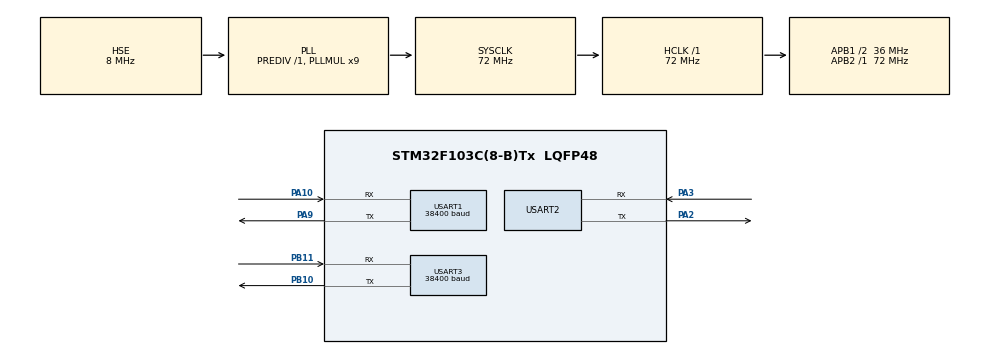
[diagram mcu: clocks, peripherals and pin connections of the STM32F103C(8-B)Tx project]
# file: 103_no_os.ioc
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Dma.Request0=USART2_RX
Dma.USART2_RX.0.Direction=DMA_PERIPH_TO_MEMORY
Dma.USART2_RX.0.Instance=DMA1_Channel6
Dma.USART2_RX.0.MemDataAlignment=DMA_MDATAALIGN_BYTE
Dma.USART2_RX.0.MemInc=DMA_MINC_ENABLE
Dma.USART2_RX.0.Mode=DMA_NORMAL
Dma.USART2_RX.0.PeriphDataAlignment=DMA_PDATAALIGN_BYTE
Dma.USART2_RX.0.PeriphInc=DMA_PINC_DISABLE
Dma.USART2_RX.0.Priority=DMA_PRIORITY_LOW
Mcu.Family=STM32F1
Mcu.Name=STM32F103C(8-B)Tx
Mcu.Package=LQFP48
NVIC.DMA1_Channel6_IRQn=true\:0\:0\:false\:false\:true\:false\:true\:true
NVIC.PriorityGroup=NVIC_PRIORITYGROUP_4
NVIC.TIM2_IRQn=true\:0\:0\:false\:false\:true\:true\:true\:true
NVIC.USART1_IRQn=true\:0\:0\:false\:false\:true\:true\:true\:true
NVIC.USART2_IRQn=true\:0\:0\:false\:false\:true\:true\:true\:true
NVIC.USART3_IRQn=true\:0\:0\:false\:false\:true\:true\:true\:true
PA10.Mode=Asynchronous
PA10.Signal=USART1_RX
PA13.Mode=Serial_Wire
PA13.Signal=SYS_JTMS-SWDIO
PA14.Mode=Serial_Wire
PA14.Signal=SYS_JTCK-SWCLK
PA2.Mode=Asynchronous
PA2.Signal=USART2_TX
PA3.Mode=Asynchronous
PA3.Signal=USART2_RX
PA9.Mode=Asynchronous
PA9.Signal=USART1_TX
PB10.Mode=Asynchronous
PB10.Signal=USART3_TX
PB11.Mode=Asynchronous
PB11.Signal=USART3_RX
PD0-OSC_IN.Mode=HSE-External-Oscillator
PD0-OSC_IN.Signal=RCC_OSC_IN
PD1-OSC_OUT.Mode=HSE-External-Oscillator
PD1-OSC_OUT.Signal=RCC_OSC_OUT
ProjectManager.HeapSize=0x200
ProjectManager.StackSize=0x400
ProjectManager.TargetToolchain=MDK-ARM V5.32
RCC.AHBFreq_Value=72000000
RCC.APB1CLKDivider=RCC_HCLK_DIV2
RCC.APB1Freq_Value=36000000
RCC.APB1TimFreq_Value=72000000
RCC.APB2Freq_Value=72000000
RCC.APB2TimFreq_Value=72000000
RCC.HCLKFreq_Value=72000000
RCC.PLLMUL=RCC_PLL_MUL9
RCC.PLLSourceVirtual=RCC_PLLSOURCE_HSE
RCC.SYSCLKFreq_VALUE=72000000
RCC.SYSCLKSource=RCC_SYSCLKSOURCE_PLLCLK
RCC.USBFreq_Value=72000000
TIM2.Period=10000
TIM2.Prescaler=7199
USART1.BaudRate=38400
USART1.VirtualMode=VM_ASYNC
USART2.VirtualMode=VM_ASYNC
USART3.BaudRate=38400
USART3.VirtualMode=VM_ASYNC
VP_TIM2_VS_ClockSourceINT.Mode=Internal
board=custom

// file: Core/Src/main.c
/* USER CODE BEGIN Header */
/**
  ******************************************************************************
  * @file           : main.c
  * @brief          : Main program body
  ******************************************************************************
  * @attention
  *
  * Copyright (c) 2023 STMicroelectronics.
  * All rights reserved.
  *
  * This software is licensed under terms that can be found in the LICENSE file
  * in the root directory of this software component.
  * If no LICENSE file comes with this software, it is provided AS-IS.
  *
  ******************************************************************************
  */
/* USER CODE END Header */
#include "main.h"
#include "dma.h"
#include "tim.h"
#include "usart.h"
#include "gpio.h"

/* USER CODE BEGIN Includes */
#include "esp8266.h"
#include "string.h"
/* USER CODE END Includes */

/* USER CODE BEGIN PD */

double temp_value;
double humi_value;

struct stru{
	char ID_card[34];
	int state;
	int count;
	int count2;
}
CARD[100];

/* USER CODE END PD */

void SystemClock_Config(void);

int main(void)
{

  /* MCU Configuration--------------------------------------------------------*/

  /* Reset of all peripherals, Initializes the Flash interface and the Systick. */
  HAL_Init();

  /* Configure the system clock */
  SystemClock_Config();

  /* Initialize all configured peripherals */
  MX_GPIO_Init();
  MX_DMA_Init();
  MX_USART2_UART_Init();
  MX_TIM2_Init();
  MX_USART1_UART_Init();
  MX_USART3_UART_Init();
	memset(USART_RxBuf, '\0', Rx_Len); // 清空接收缓冲区
  /* USER CODE BEGIN 2 */
	ESP8266_Init();

	HAL_UART_Transmit(&huart3,"N1,06\r\n", 7, 100);
	HAL_UART_Receive(&huart3,((uint8_t *)USART_RxBuf), Rx_Len, 100);
	memset(USART_RxBuf, '\0', Rx_Len); // 清空接收缓冲区

	HAL_UART_Transmit(&huart3,"U\r\n", 3, 100);
	HAL_UART_Receive(&huart3,((uint8_t *)USART_RxBuf), Rx_Len, 100);

  /* USER CODE END 2 */

  /* Infinite loop */
  /* USER CODE BEGIN WHILE */
  while (1)
  {
		for(int i = 0; i <100; i++){
				if(CARD[i].state == 1){
					CARD[i].count2++;
					if(CARD[i].count2 - CARD[i].count > 20){
						char out_id[37]={'O','U','T'};
						for(int p = 0; p <34; p++){
							out_id[p+3] = CARD[i].ID_card[p];
						}
						ESP8266_SendDataToServer((uint8_t *)out_id, 37);
						CARD[i].state = 0;
						CARD[i].count = 0;
						CARD[i].count2 = 0;
					}
				}
		}

		for(int j=0; j< strlen(USART_RxBuf)/36 ;j++){
			char this_id[34];

			for(int i=0;i<33;i++){
				this_id[i] = USART_RxBuf[i+1+j*36];
			}
			this_id[33]='\0';
			int flag = 0;
			for(int i=0;i<100;i++){
				if(CARD[i].state == 1 && strcmp(this_id,CARD[i].ID_card) == 0){ //找到相等的卡片
					CARD[i].count++;
					CARD[i].count2 = CARD[i].count;
					flag = 1;
					break;
				}
			}
			if(flag == 0){
				for(int i=0;i<100;i++){
					if(CARD[i].state == 0 && this_id[0] == 'U' && this_id[32] >= '0' && this_id[32] <= '9'){  // 添加新卡片
						strcpy(CARD[i].ID_card, this_id);
						CARD[i].state = 1;
						CARD[i].count = 0;
						CARD[i].count2 = 0;
						ESP8266_SendDataToServer((uint8_t *)this_id, 34);
						break;
					}
				}
			}
		}

		memset(USART_RxBuf, '\0', Rx_Len); // 清空接收缓冲区
		HAL_UART_Transmit(&huart3,"U\r\n", 3, 100);
		HAL_UART_Receive(&huart3,((uint8_t *)USART_RxBuf), Rx_Len, 100);
    /* USER CODE END WHILE */

  }
}

void SystemClock_Config(void)
{
  RCC_OscInitTypeDef RCC_OscInitStruct = {0};
  RCC_ClkInitTypeDef RCC_ClkInitStruct = {0};

  /** Initializes the RCC Oscillators according to the specified parameters
  * in the RCC_OscInitTypeDef structure.
  */
  RCC_OscInitStruct.OscillatorType = RCC_OSCILLATORTYPE_HSE;
  RCC_OscInitStruct.HSEState = RCC_HSE_ON;
  RCC_OscInitStruct.HSEPredivValue = RCC_HSE_PREDIV_DIV1;
  RCC_OscInitStruct.HSIState = RCC_HSI_ON;
  RCC_OscInitStruct.PLL.PLLState = RCC_PLL_ON;
  RCC_OscInitStruct.PLL.PLLSource = RCC_PLLSOURCE_HSE;
  RCC_OscInitStruct.PLL.PLLMUL = RCC_PLL_MUL9;
  if (HAL_RCC_OscConfig(&RCC_OscInitStruct) != HAL_OK)
  {
    Error_Handler();
  }

  /** Initializes the CPU, AHB and APB buses clocks
  */
  RCC_ClkInitStruct.ClockType = RCC_CLOCKTYPE_HCLK|RCC_CLOCKTYPE_SYSCLK
                              |RCC_CLOCKTYPE_PCLK1|RCC_CLOCKTYPE_PCLK2;
  RCC_ClkInitStruct.SYSCLKSource = RCC_SYSCLKSOURCE_PLLCLK;
  RCC_ClkInitStruct.AHBCLKDivider = RCC_SYSCLK_DIV1;
  RCC_ClkInitStruct.APB1CLKDivider = RCC_HCLK_DIV2;
  RCC_ClkInitStruct.APB2CLKDivider = RCC_HCLK_DIV1;

  if (HAL_RCC_ClockConfig(&RCC_ClkInitStruct, FLASH_LATENCY_2) != HAL_OK)
  {
    Error_Handler();
  }
}

void Error_Handler(void)
{
  __disable_irq();
  while (1)
  {
  }
}
